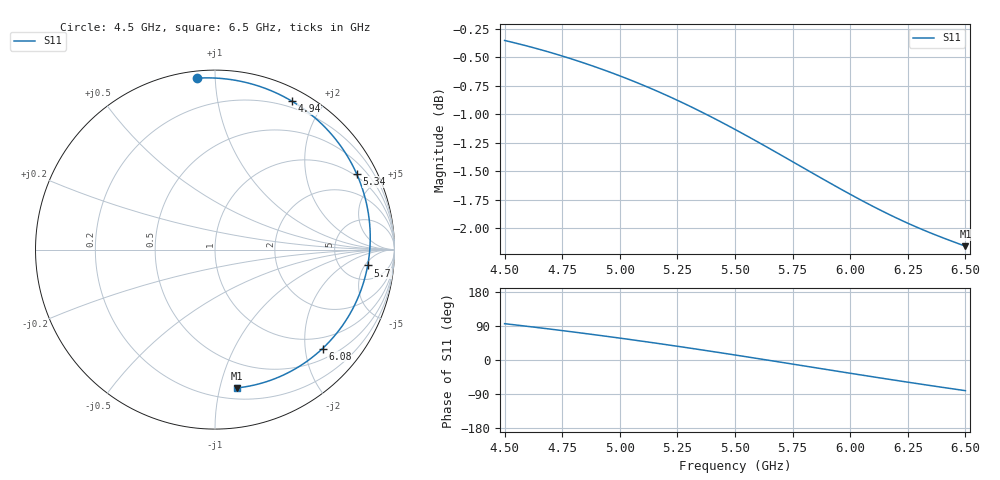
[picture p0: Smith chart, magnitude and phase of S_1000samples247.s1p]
! TOUCHSTONE file generated by CST MICROWAVE STUDIO
! Date and time: Thu Oct 27 12:31:34 2022
! Project name: L.cst
! Parameters = {Di=1.27; Epsilon_r=1.56; InnerDiameter=1.27; Length=2; Lf=10; Lg=60; OuterConductorThickness=0.2921; OuterDiameter=3.6; Wf=3; Wp=41.2; de=1.5; df=6.8; g=0.8; gx=2.04275; gy=4.60339; h=2.34; hf=1.524; px=8.83238; py=12.0781; w=9.7; wx=6.78963; wy=7.47473}
! Header version: 2018
! Port assignment regex: !\s*Touchstone port\s*([0-9]+)\s*=\s*(CST MWS port|CST DS port)\s*([0-9]+|Zmin|Zmax)\s*\(\"(.*)\"\)(\s*mode\s*([0-9]+))?.*
! Touchstone port assignment:
! Touchstone port 1 = CST MWS port 1 ("")
# GHz S DB R 50
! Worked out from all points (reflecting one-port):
!   101 points, 4.5 GHz to 6.5 GHz, reference 50 ohm
!   lowest |S11| = -2.2 dB at 6.5 GHz (marker M1), VSWR 8.10, Z = 14.4 - j56.6 ohm
!   phase of S11 starts at 96 deg and turns -177 deg over the sweep
!   S11 on the Smith chart (normalised r, x): 4.5 GHz: 0.04, +0.90; 4.94 GHz: 0.13, +1.63; 5.34 GHz: 0.90, +3.80; 5.7 GHz: 9, -6; 6.08 GHz: 0.73, -2.37; 6.5 GHz: 0.29, -1.13
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4.5  -0.35 95.9
4.58  -0.39 90.2
4.64  -0.42 85.8
4.76  -0.49 76.8
4.86  -0.56 69.1
4.94  -0.62 62.7
5  -0.66 57.8
5.06  -0.71 52.7
5.12  -0.76 47.6
5.2  -0.83 40.7
5.26  -0.89 35.3
5.34  -0.96 28.1
5.42  -1.05 20.7
5.5  -1.13 13.2
5.6  -1.24 3.7
5.7  -1.36 -5.9
5.76  -1.43 -11.7
5.82  -1.50 -17.6
5.88  -1.56 -23.4
5.94  -1.63 -29.2
6  -1.70 -35.0
6.08  -1.79 -42.6
6.18  -1.89 -52.0
6.26  -1.96 -59.4
6.32  -2.02 -64.9
6.38  -2.06 -70.3
6.44  -2.11 -75.7
6.5  -2.15 -80.9
